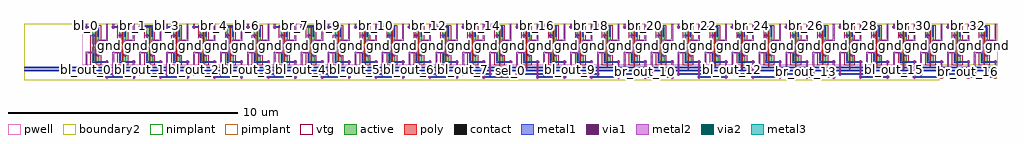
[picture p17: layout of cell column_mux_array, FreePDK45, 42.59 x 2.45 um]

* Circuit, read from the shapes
.subckt column_mux_array bl_0 bl_1 bl_10 bl_11 bl_12 bl_13 bl_14 bl_15 bl_16 bl_17 bl_18 bl_19 bl_2 bl_20 bl_21 bl_22 bl_23 bl_24 bl_25 bl_26 bl_27 bl_28 bl_29 bl_3 bl_30 bl_31 bl_32 bl_33 bl_4 bl_5 bl_6 bl_7 bl_8 bl_9 bl_out_0 bl_out_1 bl_out_10 bl_out_11 bl_out_12 bl_out_13 bl_out_14 bl_out_15 bl_out_16 bl_out_2 bl_out_3 bl_out_4 bl_out_5 bl_out_6 bl_out_7 bl_out_8 bl_out_9 br_0 br_1 br_10 br_11 br_12 br_13 br_14 br_15 br_16 br_17 br_18 br_19 br_2 br_20 br_21 br_22 br_23 br_24 br_25 br_26 br_27 br_28 br_29 br_3 br_30 br_31 br_32 br_33 br_4 br_5 br_6 br_7 br_8 br_9 br_out_0 br_out_1 br_out_10 br_out_11 br_out_12 br_out_13 br_out_14 br_out_15 br_out_16 br_out_2 br_out_3 br_out_4 br_out_5 br_out_6 br_out_7 br_out_8 br_out_9 gnd sel_0 sel_1
M1 br_0 sel_0 br_out_0 gnd nfet w=0.72u l=0.05u
M2 bl_0 sel_0 bl_out_0 gnd nfet w=0.72u l=0.05u
M3 br_1 sel_1 br_out_0 gnd nfet w=0.72u l=0.05u
M4 bl_1 sel_1 bl_out_0 gnd nfet w=0.72u l=0.05u
M5 br_2 sel_0 br_out_1 gnd nfet w=0.72u l=0.05u
M6 bl_2 sel_0 bl_out_1 gnd nfet w=0.72u l=0.05u
M7 br_3 sel_1 br_out_1 gnd nfet w=0.72u l=0.05u
M8 bl_3 sel_1 bl_out_1 gnd nfet w=0.72u l=0.05u
M9 br_4 sel_0 br_out_2 gnd nfet w=0.72u l=0.05u
M10 bl_4 sel_0 bl_out_2 gnd nfet w=0.72u l=0.05u
M11 br_5 sel_1 br_out_2 gnd nfet w=0.72u l=0.05u
M12 bl_5 sel_1 bl_out_2 gnd nfet w=0.72u l=0.05u
M13 br_6 sel_0 br_out_3 gnd nfet w=0.72u l=0.05u
M14 bl_6 sel_0 bl_out_3 gnd nfet w=0.72u l=0.05u
M15 br_7 sel_1 br_out_3 gnd nfet w=0.72u l=0.05u
M16 bl_7 sel_1 bl_out_3 gnd nfet w=0.72u l=0.05u
M17 br_8 sel_0 br_out_4 gnd nfet w=0.72u l=0.05u
M18 bl_8 sel_0 bl_out_4 gnd nfet w=0.72u l=0.05u
M19 br_9 sel_1 br_out_4 gnd nfet w=0.72u l=0.05u
M20 bl_9 sel_1 bl_out_4 gnd nfet w=0.72u l=0.05u
M21 br_10 sel_0 br_out_5 gnd nfet w=0.72u l=0.05u
M22 bl_10 sel_0 bl_out_5 gnd nfet w=0.72u l=0.05u
M23 br_11 sel_1 br_out_5 gnd nfet w=0.72u l=0.05u
M24 bl_11 sel_1 bl_out_5 gnd nfet w=0.72u l=0.05u
M25 br_12 sel_0 br_out_6 gnd nfet w=0.72u l=0.05u
M26 bl_12 sel_0 bl_out_6 gnd nfet w=0.72u l=0.05u
M27 br_13 sel_1 br_out_6 gnd nfet w=0.72u l=0.05u
M28 bl_13 sel_1 bl_out_6 gnd nfet w=0.72u l=0.05u
M29 br_14 sel_0 br_out_7 gnd nfet w=0.72u l=0.05u
M30 bl_14 sel_0 bl_out_7 gnd nfet w=0.72u l=0.05u
M31 br_15 sel_1 br_out_7 gnd nfet w=0.72u l=0.05u
M32 bl_15 sel_1 bl_out_7 gnd nfet w=0.72u l=0.05u
M33 br_16 sel_0 br_out_8 gnd nfet w=0.72u l=0.05u
M34 bl_16 sel_0 bl_out_8 gnd nfet w=0.72u l=0.05u
M35 br_17 sel_1 br_out_8 gnd nfet w=0.72u l=0.05u
M36 bl_17 sel_1 bl_out_8 gnd nfet w=0.72u l=0.05u
M37 br_18 sel_0 br_out_9 gnd nfet w=0.72u l=0.05u
M38 bl_18 sel_0 bl_out_9 gnd nfet w=0.72u l=0.05u
M39 br_19 sel_1 br_out_9 gnd nfet w=0.72u l=0.05u
M40 bl_19 sel_1 bl_out_9 gnd nfet w=0.72u l=0.05u
M41 br_20 sel_0 br_out_10 gnd nfet w=0.72u l=0.05u
M42 bl_20 sel_0 bl_out_10 gnd nfet w=0.72u l=0.05u
M43 br_21 sel_1 br_out_10 gnd nfet w=0.72u l=0.05u
M44 bl_21 sel_1 bl_out_10 gnd nfet w=0.72u l=0.05u
M45 br_22 sel_0 br_out_11 gnd nfet w=0.72u l=0.05u
M46 bl_22 sel_0 bl_out_11 gnd nfet w=0.72u l=0.05u
M47 br_23 sel_1 br_out_11 gnd nfet w=0.72u l=0.05u
M48 bl_23 sel_1 bl_out_11 gnd nfet w=0.72u l=0.05u
M49 br_24 sel_0 br_out_12 gnd nfet w=0.72u l=0.05u
M50 bl_24 sel_0 bl_out_12 gnd nfet w=0.72u l=0.05u
M51 br_25 sel_1 br_out_12 gnd nfet w=0.72u l=0.05u
M52 bl_25 sel_1 bl_out_12 gnd nfet w=0.72u l=0.05u
M53 br_26 sel_0 br_out_13 gnd nfet w=0.72u l=0.05u
M54 bl_26 sel_0 bl_out_13 gnd nfet w=0.72u l=0.05u
M55 br_27 sel_1 br_out_13 gnd nfet w=0.72u l=0.05u
M56 bl_27 sel_1 bl_out_13 gnd nfet w=0.72u l=0.05u
M57 br_28 sel_0 br_out_14 gnd nfet w=0.72u l=0.05u
M58 bl_28 sel_0 bl_out_14 gnd nfet w=0.72u l=0.05u
M59 br_29 sel_1 br_out_14 gnd nfet w=0.72u l=0.05u
M60 bl_29 sel_1 bl_out_14 gnd nfet w=0.72u l=0.05u
M61 br_30 sel_0 br_out_15 gnd nfet w=0.72u l=0.05u
M62 bl_30 sel_0 bl_out_15 gnd nfet w=0.72u l=0.05u
M63 br_31 sel_1 br_out_15 gnd nfet w=0.72u l=0.05u
M64 bl_31 sel_1 bl_out_15 gnd nfet w=0.72u l=0.05u
M65 br_32 sel_0 br_out_16 gnd nfet w=0.72u l=0.05u
M66 bl_32 sel_0 bl_out_16 gnd nfet w=0.72u l=0.05u
M67 br_33 sel_1 br_out_16 gnd nfet w=0.72u l=0.05u
M68 bl_33 sel_1 bl_out_16 gnd nfet w=0.72u l=0.05u
.ends

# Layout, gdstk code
import gdstk
lib = gdstk.Library(unit=1e-6, precision=5e-10)
def R(c, l, rs):  # rectangles x0, y0, x1, y1
    for r in rs: c.add(gdstk.rectangle(r[:2], r[2:], *l))
def A(c, l, x, y, w, h, nx, ny, dx, dy):  # array of equal rectangles
    R(c, l, [(x+i*dx, y+j*dy, x+i*dx+w, y+j*dy+h) for i in range(nx) for j in range(ny)])
active = (1, 0)
pwell = (2, 0)
nimplant = (4, 0)
pimplant = (5, 0)
vtg = (6, 0)
poly = (9, 0)
contact = (10, 0)
metal1 = (11, 0)
via1 = (12, 0)
metal2 = (13, 0)
via2 = (14, 0)
metal3 = (15, 0)
boundary2 = (239, 0)

contact_9 = lib.new_cell('contact_9')
R(contact_9, active, [(0,0.0225,0.09,0.1125)])
R(contact_9, pwell, [(-0.055,-0.0325,0.145,0.1675)])
R(contact_9, nimplant, [(0,0.0225,0.09,0.1125)])
R(contact_9, contact, [(0.0125,0.035,0.0775,0.1)])
R(contact_9, metal1, [(0.0125,0,0.0775,0.135)])
R(contact_9, boundary2, [(-0.055,-0.0325,0.145,0.1675)])

nmos_m1_w0_720_sm1_dm1 = lib.new_cell('nmos_m1_w0_720_sm1_dm1')
R(nmos_m1_w0_720_sm1_dm1, active, [(0,0,0.305,0.72)])
R(nmos_m1_w0_720_sm1_dm1, pwell, [(-0.08,-0.08,0.385,0.8)])
R(nmos_m1_w0_720_sm1_dm1, nimplant, [(0,0,0.305,0.72)])
R(nmos_m1_w0_720_sm1_dm1, vtg, [(-0.08,-0.08,0.385,0.8)])
R(nmos_m1_w0_720_sm1_dm1, poly, [(0.1275,-0.055,0.1775,0.775), (0.1275,-0.055,0.1775,0.775)])
R(nmos_m1_w0_720_sm1_dm1, metal1, [(0.0125,0.2925,0.0775,0.4275), (0.2275,0.2925,0.2925,0.4275)])
R(nmos_m1_w0_720_sm1_dm1, boundary2, [(-0.08,-0.08,0.385,0.8)])
nmos_m1_w0_720_sm1_dm1.add(gdstk.Reference(contact_9, (0,0.2925)))
nmos_m1_w0_720_sm1_dm1.add(gdstk.Reference(contact_9, (0.215,0.2925)))
nmos_m1_w0_720_sm1_dm1.add(gdstk.Label('G', (0.1525,0.36), layer=9, texttype=0))
nmos_m1_w0_720_sm1_dm1.add(gdstk.Label('S', (0.045,0.36), layer=11, texttype=0))
nmos_m1_w0_720_sm1_dm1.add(gdstk.Label('D', (0.26,0.36), layer=11, texttype=0))

contact_16 = lib.new_cell('contact_16')
R(contact_16, metal1, [(0,0.035,0.135,0.1)])
R(contact_16, via1, [(0.035,0.035,0.1,0.1)])
R(contact_16, metal2, [(0.0325,0,0.1025,0.135)])
R(contact_16, boundary2, [(0,0,0.135,0.135)])

contact_23 = lib.new_cell('contact_23')
R(contact_23, active, [(0.0225,0,0.1125,0.09)])
R(contact_23, pwell, [(-0.0325,-0.055,0.1675,0.145)])
R(contact_23, pimplant, [(0.0225,0,0.1125,0.09)])
R(contact_23, contact, [(0.035,0.0125,0.1,0.0775)])
R(contact_23, metal1, [(0,0.0125,0.135,0.0775)])
R(contact_23, boundary2, [(-0.0325,-0.055,0.1675,0.145)])

contact_17 = lib.new_cell('contact_17')
R(contact_17, metal2, [(0.0325,0,0.1025,0.135)])
R(contact_17, via2, [(0.035,0.035,0.1,0.1)])
R(contact_17, metal3, [(0,0.0325,0.135,0.1025)])
R(contact_17, boundary2, [(0,0,0.135,0.135)])

column_mux = lib.new_cell('column_mux')
R(column_mux, pwell, [(0,0,1.175,1.8)])
R(column_mux, poly, [(0.5625,0.025,0.6125,0.08), (0.5625,0.8,0.6125,0.94)])
R(column_mux, metal1, [(0.4475,0.1075,0.5125,0.1725), (0.48,0.1075,1.07,0.1725), (0.4475,0.14,0.5125,0.44), (0.6625,1.3,0.7275,1.66), (0.14,1.6275,0.695,1.6925), (0.6625,1.6275,0.7275,1.6925)])
R(column_mux, metal2, [(0.14,0,0.21,0.14), (1.035,0,1.105,0.14), (0.14,0.14,0.21,0.55), (0.66,0.44,0.73,1.085), (0.14,0.515,0.21,0.585), (0.175,0.515,0.48,0.585), (0.445,0.515,0.515,0.585), (0.445,0.55,0.515,1.3), (0.66,1.05,0.73,1.12), (0.695,1.05,1.07,1.12), (1.035,1.05,1.105,1.12), (1.035,1.085,1.105,1.66), (0.14,1.66,0.21,1.8), (1.035,1.66,1.105,1.8)])
R(column_mux, metal3, [(1.1075,0.8025,1.2425,0.9375)])
R(column_mux, boundary2, [(0,0,1.175,1.8)])
column_mux.add(gdstk.Reference(nmos_m1_w0_720_sm1_dm1, (0.435,0.08)))
column_mux.add(gdstk.Reference(nmos_m1_w0_720_sm1_dm1, (0.435,0.94)))
column_mux.add(gdstk.Reference(contact_16, (0.1075,1.5925)))
column_mux.add(gdstk.Reference(contact_16, (1.0025,0.0725)))
column_mux.add(gdstk.Reference(contact_16, (0.4125,1.2325)))
column_mux.add(gdstk.Reference(contact_16, (0.6275,0.3725)))
column_mux.add(gdstk.Reference(contact_23, (1.1075,0.825)))
column_mux.add(gdstk.Reference(contact_16, (1.1075,0.8025)))
column_mux.add(gdstk.Reference(contact_16, (1.1075,0.8025)))
column_mux.add(gdstk.Reference(contact_17, (1.1075,0.8025)))
column_mux.add(gdstk.Label('sel', (0.5875,0.0525), layer=9, texttype=0))
column_mux.add(gdstk.Label('bl', (0.175,1.73), layer=13, texttype=0))
column_mux.add(gdstk.Label('br', (1.07,1.73), layer=13, texttype=0))
column_mux.add(gdstk.Label('bl_out', (0.175,0.07), layer=13, texttype=0))
column_mux.add(gdstk.Label('br_out', (1.07,0.07), layer=13, texttype=0))
column_mux.add(gdstk.Label('gnd', (1.175,0.87), layer=15, texttype=0))

contact_24 = lib.new_cell('contact_24')
R(contact_24, poly, [(0.03,0,0.105,0.075)])
R(contact_24, contact, [(0.035,0.005,0.1,0.07)])
R(contact_24, metal1, [(0,0.005,0.135,0.07)])
R(contact_24, boundary2, [(0,0,0.135,0.075)])

contact_14 = lib.new_cell('contact_14')
R(contact_14, metal1, [(0,0.035,0.135,0.1)])
R(contact_14, via1, [(0.035,0.035,0.1,0.1)])
R(contact_14, metal2, [(0.0325,0,0.1025,0.135)])
R(contact_14, boundary2, [(0,0,0.135,0.135)])

column_mux_array = lib.new_cell('column_mux_array')
R(column_mux_array, pwell, [(2.545,0.65,42.495,2.45)])
A(column_mux_array, poly, 3.1075, 0.4225, 0.05, 0.2525, 17, 1, 2.35, 0)
A(column_mux_array, poly, 4.2825, 0.5525, 0.05, 0.1225, 17, 1, 2.35, 0)
A(column_mux_array, metal1, 3.615, 0.0975, 1.175, 0.065, 17, 1, 2.35, 0)
A(column_mux_array, metal1, 2.72, 0.2275, 1.175, 0.065, 17, 1, 2.35, 0)
R(column_mux_array, metal1, [(0,0.39,42.495,0.455), (0,0.52,42.495,0.585)])
A(column_mux_array, metal2, 3.58, 0.13, 0.07, 0.52, 34, 1, 1.175, 0)
A(column_mux_array, metal2, 2.685, 0.26, 0.07, 0.39, 34, 1, 1.175, 0)
R(column_mux_array, metal2, [(2.685,2.31,2.755,2.45), (3.58,2.31,3.65,2.45), (3.86,2.31,3.93,2.45), (4.755,2.31,4.825,2.45), (5.035,2.31,5.105,2.45), (5.93,2.31,6,2.45), (6.21,2.31,6.28,2.45), (7.105,2.31,7.175,2.45), (7.385,2.31,7.455,2.45), (8.28,2.31,8.35,2.45), (8.56,2.31,8.63,2.45), (9.455,2.31,9.525,2.45), (9.735,2.31,9.805,2.45), (10.63,2.31,10.7,2.45), (10.91,2.31,10.98,2.45), (11.805,2.31,11.875,2.45), (12.085,2.31,12.155,2.45), (12.98,2.31,13.05,2.45), (13.26,2.31,13.33,2.45), (14.155,2.31,14.225,2.45), (14.435,2.31,14.505,2.45), (15.33,2.31,15.4,2.45), (15.61,2.31,15.68,2.45), (16.505,2.31,16.575,2.45), (16.785,2.31,16.855,2.45), (17.68,2.31,17.75,2.45), (17.96,2.31,18.03,2.45), (18.855,2.31,18.925,2.45), (19.135,2.31,19.205,2.45), (20.03,2.31,20.1,2.45), (20.31,2.31,20.38,2.45), (21.205,2.31,21.275,2.45), (21.485,2.31,21.555,2.45), (22.38,2.31,22.45,2.45), (22.66,2.31,22.73,2.45), (23.555,2.31,23.625,2.45), (23.835,2.31,23.905,2.45), (24.73,2.31,24.8,2.45), (25.01,2.31,25.08,2.45), (25.905,2.31,25.975,2.45), (26.185,2.31,26.255,2.45), (27.08,2.31,27.15,2.45), (27.36,2.31,27.43,2.45), (28.255,2.31,28.325,2.45), (28.535,2.31,28.605,2.45), (29.43,2.31,29.5,2.45), (29.71,2.31,29.78,2.45), (30.605,2.31,30.675,2.45), (30.885,2.31,30.955,2.45), (31.78,2.31,31.85,2.45), (32.06,2.31,32.13,2.45), (32.955,2.31,33.025,2.45), (33.235,2.31,33.305,2.45), (34.13,2.31,34.2,2.45), (34.41,2.31,34.48,2.45), (35.305,2.31,35.375,2.45), (35.585,2.31,35.655,2.45), (36.48,2.31,36.55,2.45), (36.76,2.31,36.83,2.45), (37.655,2.31,37.725,2.45), (37.935,2.31,38.005,2.45), (38.83,2.31,38.9,2.45), (39.11,2.31,39.18,2.45), (40.005,2.31,40.075,2.45), (40.285,2.31,40.355,2.45), (41.18,2.31,41.25,2.45), (41.46,2.31,41.53,2.45), (42.355,2.31,42.425,2.45)])
A(column_mux_array, metal3, 3.6525, 1.4525, 0.135, 0.135, 34, 1, 1.175, 0)
R(column_mux_array, boundary2, [(0,0,39.95,2.45)])
column_mux_array.add(gdstk.Reference(column_mux, (2.545,0.65)))
column_mux_array.add(gdstk.Reference(column_mux, (3.72,0.65)))
column_mux_array.add(gdstk.Reference(column_mux, (4.895,0.65)))
column_mux_array.add(gdstk.Reference(column_mux, (6.07,0.65)))
column_mux_array.add(gdstk.Reference(column_mux, (7.245,0.65)))
column_mux_array.add(gdstk.Reference(column_mux, (8.42,0.65)))
column_mux_array.add(gdstk.Reference(column_mux, (9.595,0.65)))
column_mux_array.add(gdstk.Reference(column_mux, (10.77,0.65)))
column_mux_array.add(gdstk.Reference(column_mux, (11.945,0.65)))
column_mux_array.add(gdstk.Reference(column_mux, (13.12,0.65)))
column_mux_array.add(gdstk.Reference(column_mux, (14.295,0.65)))
column_mux_array.add(gdstk.Reference(column_mux, (15.47,0.65)))
column_mux_array.add(gdstk.Reference(column_mux, (16.645,0.65)))
column_mux_array.add(gdstk.Reference(column_mux, (17.82,0.65)))
column_mux_array.add(gdstk.Reference(column_mux, (18.995,0.65)))
column_mux_array.add(gdstk.Reference(column_mux, (20.17,0.65)))
column_mux_array.add(gdstk.Reference(column_mux, (21.345,0.65)))
column_mux_array.add(gdstk.Reference(column_mux, (22.52,0.65)))
column_mux_array.add(gdstk.Reference(column_mux, (23.695,0.65)))
column_mux_array.add(gdstk.Reference(column_mux, (24.87,0.65)))
column_mux_array.add(gdstk.Reference(column_mux, (26.045,0.65)))
column_mux_array.add(gdstk.Reference(column_mux, (27.22,0.65)))
column_mux_array.add(gdstk.Reference(column_mux, (28.395,0.65)))
column_mux_array.add(gdstk.Reference(column_mux, (29.57,0.65)))
column_mux_array.add(gdstk.Reference(column_mux, (30.745,0.65)))
column_mux_array.add(gdstk.Reference(column_mux, (31.92,0.65)))
column_mux_array.add(gdstk.Reference(column_mux, (33.095,0.65)))
column_mux_array.add(gdstk.Reference(column_mux, (34.27,0.65)))
column_mux_array.add(gdstk.Reference(column_mux, (35.445,0.65)))
column_mux_array.add(gdstk.Reference(column_mux, (36.62,0.65)))
column_mux_array.add(gdstk.Reference(column_mux, (37.795,0.65)))
column_mux_array.add(gdstk.Reference(column_mux, (38.97,0.65)))
column_mux_array.add(gdstk.Reference(column_mux, (40.145,0.65)))
column_mux_array.add(gdstk.Reference(column_mux, (41.32,0.65)))
column_mux_array.add(gdstk.Reference(contact_24, (3.065,0.385)))
column_mux_array.add(gdstk.Reference(contact_24, (4.24,0.515)))
column_mux_array.add(gdstk.Reference(contact_24, (5.415,0.385)))
column_mux_array.add(gdstk.Reference(contact_24, (6.59,0.515)))
column_mux_array.add(gdstk.Reference(contact_24, (7.765,0.385)))
column_mux_array.add(gdstk.Reference(contact_24, (8.94,0.515)))
column_mux_array.add(gdstk.Reference(contact_24, (10.115,0.385)))
column_mux_array.add(gdstk.Reference(contact_24, (11.29,0.515)))
column_mux_array.add(gdstk.Reference(contact_24, (12.465,0.385)))
column_mux_array.add(gdstk.Reference(contact_24, (13.64,0.515)))
column_mux_array.add(gdstk.Reference(contact_24, (14.815,0.385)))
column_mux_array.add(gdstk.Reference(contact_24, (15.99,0.515)))
column_mux_array.add(gdstk.Reference(contact_24, (17.165,0.385)))
column_mux_array.add(gdstk.Reference(contact_24, (18.34,0.515)))
column_mux_array.add(gdstk.Reference(contact_24, (19.515,0.385)))
column_mux_array.add(gdstk.Reference(contact_24, (20.69,0.515)))
column_mux_array.add(gdstk.Reference(contact_24, (21.865,0.385)))
column_mux_array.add(gdstk.Reference(contact_24, (23.04,0.515)))
column_mux_array.add(gdstk.Reference(contact_24, (24.215,0.385)))
column_mux_array.add(gdstk.Reference(contact_24, (25.39,0.515)))
column_mux_array.add(gdstk.Reference(contact_24, (26.565,0.385)))
column_mux_array.add(gdstk.Reference(contact_24, (27.74,0.515)))
column_mux_array.add(gdstk.Reference(contact_24, (28.915,0.385)))
column_mux_array.add(gdstk.Reference(contact_24, (30.09,0.515)))
column_mux_array.add(gdstk.Reference(contact_24, (31.265,0.385)))
column_mux_array.add(gdstk.Reference(contact_24, (32.44,0.515)))
column_mux_array.add(gdstk.Reference(contact_24, (33.615,0.385)))
column_mux_array.add(gdstk.Reference(contact_24, (34.79,0.515)))
column_mux_array.add(gdstk.Reference(contact_24, (35.965,0.385)))
column_mux_array.add(gdstk.Reference(contact_24, (37.14,0.515)))
column_mux_array.add(gdstk.Reference(contact_24, (38.315,0.385)))
column_mux_array.add(gdstk.Reference(contact_24, (39.49,0.515)))
column_mux_array.add(gdstk.Reference(contact_24, (40.665,0.385)))
column_mux_array.add(gdstk.Reference(contact_24, (41.84,0.515)))
column_mux_array.add(gdstk.Reference(contact_14, (2.6525,0.1925)))
column_mux_array.add(gdstk.Reference(contact_14, (3.5475,0.0625)))
column_mux_array.add(gdstk.Reference(contact_14, (3.8275,0.1925)))
column_mux_array.add(gdstk.Reference(contact_14, (4.7225,0.0625)))
column_mux_array.add(gdstk.Reference(contact_14, (5.0025,0.1925)))
column_mux_array.add(gdstk.Reference(contact_14, (5.8975,0.0625)))
column_mux_array.add(gdstk.Reference(contact_14, (6.1775,0.1925)))
column_mux_array.add(gdstk.Reference(contact_14, (7.0725,0.0625)))
column_mux_array.add(gdstk.Reference(contact_14, (7.3525,0.1925)))
column_mux_array.add(gdstk.Reference(contact_14, (8.2475,0.0625)))
column_mux_array.add(gdstk.Reference(contact_14, (8.5275,0.1925)))
column_mux_array.add(gdstk.Reference(contact_14, (9.4225,0.0625)))
column_mux_array.add(gdstk.Reference(contact_14, (9.7025,0.1925)))
column_mux_array.add(gdstk.Reference(contact_14, (10.5975,0.0625)))
column_mux_array.add(gdstk.Reference(contact_14, (10.8775,0.1925)))
column_mux_array.add(gdstk.Reference(contact_14, (11.7725,0.0625)))
column_mux_array.add(gdstk.Reference(contact_14, (12.0525,0.1925)))
column_mux_array.add(gdstk.Reference(contact_14, (12.9475,0.0625)))
column_mux_array.add(gdstk.Reference(contact_14, (13.2275,0.1925)))
column_mux_array.add(gdstk.Reference(contact_14, (14.1225,0.0625)))
column_mux_array.add(gdstk.Reference(contact_14, (14.4025,0.1925)))
column_mux_array.add(gdstk.Reference(contact_14, (15.2975,0.0625)))
column_mux_array.add(gdstk.Reference(contact_14, (15.5775,0.1925)))
column_mux_array.add(gdstk.Reference(contact_14, (16.4725,0.0625)))
column_mux_array.add(gdstk.Reference(contact_14, (16.7525,0.1925)))
column_mux_array.add(gdstk.Reference(contact_14, (17.6475,0.0625)))
column_mux_array.add(gdstk.Reference(contact_14, (17.9275,0.1925)))
column_mux_array.add(gdstk.Reference(contact_14, (18.8225,0.0625)))
column_mux_array.add(gdstk.Reference(contact_14, (19.1025,0.1925)))
column_mux_array.add(gdstk.Reference(contact_14, (19.9975,0.0625)))
column_mux_array.add(gdstk.Reference(contact_14, (20.2775,0.1925)))
column_mux_array.add(gdstk.Reference(contact_14, (21.1725,0.0625)))
column_mux_array.add(gdstk.Reference(contact_14, (21.4525,0.1925)))
column_mux_array.add(gdstk.Reference(contact_14, (22.3475,0.0625)))
column_mux_array.add(gdstk.Reference(contact_14, (22.6275,0.1925)))
column_mux_array.add(gdstk.Reference(contact_14, (23.5225,0.0625)))
column_mux_array.add(gdstk.Reference(contact_14, (23.8025,0.1925)))
column_mux_array.add(gdstk.Reference(contact_14, (24.6975,0.0625)))
column_mux_array.add(gdstk.Reference(contact_14, (24.9775,0.1925)))
column_mux_array.add(gdstk.Reference(contact_14, (25.8725,0.0625)))
column_mux_array.add(gdstk.Reference(contact_14, (26.1525,0.1925)))
column_mux_array.add(gdstk.Reference(contact_14, (27.0475,0.0625)))
column_mux_array.add(gdstk.Reference(contact_14, (27.3275,0.1925)))
column_mux_array.add(gdstk.Reference(contact_14, (28.2225,0.0625)))
column_mux_array.add(gdstk.Reference(contact_14, (28.5025,0.1925)))
column_mux_array.add(gdstk.Reference(contact_14, (29.3975,0.0625)))
column_mux_array.add(gdstk.Reference(contact_14, (29.6775,0.1925)))
column_mux_array.add(gdstk.Reference(contact_14, (30.5725,0.0625)))
column_mux_array.add(gdstk.Reference(contact_14, (30.8525,0.1925)))
column_mux_array.add(gdstk.Reference(contact_14, (31.7475,0.0625)))
column_mux_array.add(gdstk.Reference(contact_14, (32.0275,0.1925)))
column_mux_array.add(gdstk.Reference(contact_14, (32.9225,0.0625)))
column_mux_array.add(gdstk.Reference(contact_14, (33.2025,0.1925)))
column_mux_array.add(gdstk.Reference(contact_14, (34.0975,0.0625)))
column_mux_array.add(gdstk.Reference(contact_14, (34.3775,0.1925)))
column_mux_array.add(gdstk.Reference(contact_14, (35.2725,0.0625)))
column_mux_array.add(gdstk.Reference(contact_14, (35.5525,0.1925)))
column_mux_array.add(gdstk.Reference(contact_14, (36.4475,0.0625)))
column_mux_array.add(gdstk.Reference(contact_14, (36.7275,0.1925)))
column_mux_array.add(gdstk.Reference(contact_14, (37.6225,0.0625)))
column_mux_array.add(gdstk.Reference(contact_14, (37.9025,0.1925)))
column_mux_array.add(gdstk.Reference(contact_14, (38.7975,0.0625)))
column_mux_array.add(gdstk.Reference(contact_14, (39.0775,0.1925)))
column_mux_array.add(gdstk.Reference(contact_14, (39.9725,0.0625)))
column_mux_array.add(gdstk.Reference(contact_14, (40.2525,0.1925)))
column_mux_array.add(gdstk.Reference(contact_14, (41.1475,0.0625)))
column_mux_array.add(gdstk.Reference(contact_14, (41.4275,0.1925)))
column_mux_array.add(gdstk.Reference(contact_14, (42.3225,0.0625)))
column_mux_array.add(gdstk.Label('sel_0', (21.2475,0.4225), layer=11, texttype=0))
column_mux_array.add(gdstk.Label('sel_1', (21.2475,0.5525), layer=11, texttype=0))
column_mux_array.add(gdstk.Label('bl_out_0', (2.72,0.455), layer=13, texttype=0))
column_mux_array.add(gdstk.Label('br_out_0', (3.615,0.39), layer=13, texttype=0))
column_mux_array.add(gdstk.Label('bl_out_1', (5.07,0.455), layer=13, texttype=0))
column_mux_array.add(gdstk.Label('br_out_1', (5.965,0.39), layer=13, texttype=0))
column_mux_array.add(gdstk.Label('bl_out_2', (7.42,0.455), layer=13, texttype=0))
column_mux_array.add(gdstk.Label('br_out_2', (8.315,0.39), layer=13, texttype=0))
column_mux_array.add(gdstk.Label('bl_out_3', (9.77,0.455), layer=13, texttype=0))
column_mux_array.add(gdstk.Label('br_out_3', (10.665,0.39), layer=13, texttype=0))
column_mux_array.add(gdstk.Label('bl_out_4', (12.12,0.455), layer=13, texttype=0))
column_mux_array.add(gdstk.Label('br_out_4', (13.015,0.39), layer=13, texttype=0))
column_mux_array.add(gdstk.Label('bl_out_5', (14.47,0.455), layer=13, texttype=0))
column_mux_array.add(gdstk.Label('br_out_5', (15.365,0.39), layer=13, texttype=0))
column_mux_array.add(gdstk.Label('bl_out_6', (16.82,0.455), layer=13, texttype=0))
column_mux_array.add(gdstk.Label('br_out_6', (17.715,0.39), layer=13, texttype=0))
column_mux_array.add(gdstk.Label('bl_out_7', (19.17,0.455), layer=13, texttype=0))
column_mux_array.add(gdstk.Label('br_out_7', (20.065,0.39), layer=13, texttype=0))
column_mux_array.add(gdstk.Label('bl_out_8', (21.52,0.455), layer=13, texttype=0))
column_mux_array.add(gdstk.Label('br_out_8', (22.415,0.39), layer=13, texttype=0))
column_mux_array.add(gdstk.Label('bl_out_9', (23.87,0.455), layer=13, texttype=0))
column_mux_array.add(gdstk.Label('br_out_9', (24.765,0.39), layer=13, texttype=0))
column_mux_array.add(gdstk.Label('bl_out_10', (26.22,0.455), layer=13, texttype=0))
column_mux_array.add(gdstk.Label('br_out_10', (27.115,0.39), layer=13, texttype=0))
column_mux_array.add(gdstk.Label('bl_out_11', (28.57,0.455), layer=13, texttype=0))
column_mux_array.add(gdstk.Label('br_out_11', (29.465,0.39), layer=13, texttype=0))
column_mux_array.add(gdstk.Label('bl_out_12', (30.92,0.455), layer=13, texttype=0))
column_mux_array.add(gdstk.Label('br_out_12', (31.815,0.39), layer=13, texttype=0))
column_mux_array.add(gdstk.Label('bl_out_13', (33.27,0.455), layer=13, texttype=0))
column_mux_array.add(gdstk.Label('br_out_13', (34.165,0.39), layer=13, texttype=0))
column_mux_array.add(gdstk.Label('bl_out_14', (35.62,0.455), layer=13, texttype=0))
column_mux_array.add(gdstk.Label('br_out_14', (36.515,0.39), layer=13, texttype=0))
column_mux_array.add(gdstk.Label('bl_out_15', (37.97,0.455), layer=13, texttype=0))
column_mux_array.add(gdstk.Label('br_out_15', (38.865,0.39), layer=13, texttype=0))
column_mux_array.add(gdstk.Label('bl_out_16', (40.32,0.455), layer=13, texttype=0))
column_mux_array.add(gdstk.Label('br_out_16', (41.215,0.39), layer=13, texttype=0))
column_mux_array.add(gdstk.Label('bl_0', (2.72,2.38), layer=13, texttype=0))
column_mux_array.add(gdstk.Label('br_0', (3.615,2.38), layer=13, texttype=0))
column_mux_array.add(gdstk.Label('bl_1', (3.895,2.38), layer=13, texttype=0))
column_mux_array.add(gdstk.Label('br_1', (4.79,2.38), layer=13, texttype=0))
column_mux_array.add(gdstk.Label('bl_2', (5.07,2.38), layer=13, texttype=0))
column_mux_array.add(gdstk.Label('br_2', (5.965,2.38), layer=13, texttype=0))
column_mux_array.add(gdstk.Label('bl_3', (6.245,2.38), layer=13, texttype=0))
column_mux_array.add(gdstk.Label('br_3', (7.14,2.38), layer=13, texttype=0))
column_mux_array.add(gdstk.Label('bl_4', (7.42,2.38), layer=13, texttype=0))
column_mux_array.add(gdstk.Label('br_4', (8.315,2.38), layer=13, texttype=0))
column_mux_array.add(gdstk.Label('bl_5', (8.595,2.38), layer=13, texttype=0))
column_mux_array.add(gdstk.Label('br_5', (9.49,2.38), layer=13, texttype=0))
column_mux_array.add(gdstk.Label('bl_6', (9.77,2.38), layer=13, texttype=0))
column_mux_array.add(gdstk.Label('br_6', (10.665,2.38), layer=13, texttype=0))
column_mux_array.add(gdstk.Label('bl_7', (10.945,2.38), layer=13, texttype=0))
column_mux_array.add(gdstk.Label('br_7', (11.84,2.38), layer=13, texttype=0))
column_mux_array.add(gdstk.Label('bl_8', (12.12,2.38), layer=13, texttype=0))
column_mux_array.add(gdstk.Label('br_8', (13.015,2.38), layer=13, texttype=0))
column_mux_array.add(gdstk.Label('bl_9', (13.295,2.38), layer=13, texttype=0))
column_mux_array.add(gdstk.Label('br_9', (14.19,2.38), layer=13, texttype=0))
column_mux_array.add(gdstk.Label('bl_10', (14.47,2.38), layer=13, texttype=0))
column_mux_array.add(gdstk.Label('br_10', (15.365,2.38), layer=13, texttype=0))
column_mux_array.add(gdstk.Label('bl_11', (15.645,2.38), layer=13, texttype=0))
column_mux_array.add(gdstk.Label('br_11', (16.54,2.38), layer=13, texttype=0))
column_mux_array.add(gdstk.Label('bl_12', (16.82,2.38), layer=13, texttype=0))
column_mux_array.add(gdstk.Label('br_12', (17.715,2.38), layer=13, texttype=0))
column_mux_array.add(gdstk.Label('bl_13', (17.995,2.38), layer=13, texttype=0))
column_mux_array.add(gdstk.Label('br_13', (18.89,2.38), layer=13, texttype=0))
column_mux_array.add(gdstk.Label('bl_14', (19.17,2.38), layer=13, texttype=0))
column_mux_array.add(gdstk.Label('br_14', (20.065,2.38), layer=13, texttype=0))
column_mux_array.add(gdstk.Label('bl_15', (20.345,2.38), layer=13, texttype=0))
column_mux_array.add(gdstk.Label('br_15', (21.24,2.38), layer=13, texttype=0))
column_mux_array.add(gdstk.Label('bl_16', (21.52,2.38), layer=13, texttype=0))
column_mux_array.add(gdstk.Label('br_16', (22.415,2.38), layer=13, texttype=0))
column_mux_array.add(gdstk.Label('bl_17', (22.695,2.38), layer=13, texttype=0))
column_mux_array.add(gdstk.Label('br_17', (23.59,2.38), layer=13, texttype=0))
column_mux_array.add(gdstk.Label('bl_18', (23.87,2.38), layer=13, texttype=0))
column_mux_array.add(gdstk.Label('br_18', (24.765,2.38), layer=13, texttype=0))
column_mux_array.add(gdstk.Label('bl_19', (25.045,2.38), layer=13, texttype=0))
column_mux_array.add(gdstk.Label('br_19', (25.94,2.38), layer=13, texttype=0))
column_mux_array.add(gdstk.Label('bl_20', (26.22,2.38), layer=13, texttype=0))
column_mux_array.add(gdstk.Label('br_20', (27.115,2.38), layer=13, texttype=0))
column_mux_array.add(gdstk.Label('bl_21', (27.395,2.38), layer=13, texttype=0))
column_mux_array.add(gdstk.Label('br_21', (28.29,2.38), layer=13, texttype=0))
column_mux_array.add(gdstk.Label('bl_22', (28.57,2.38), layer=13, texttype=0))
column_mux_array.add(gdstk.Label('br_22', (29.465,2.38), layer=13, texttype=0))
column_mux_array.add(gdstk.Label('bl_23', (29.745,2.38), layer=13, texttype=0))
column_mux_array.add(gdstk.Label('br_23', (30.64,2.38), layer=13, texttype=0))
column_mux_array.add(gdstk.Label('bl_24', (30.92,2.38), layer=13, texttype=0))
column_mux_array.add(gdstk.Label('br_24', (31.815,2.38), layer=13, texttype=0))
column_mux_array.add(gdstk.Label('bl_25', (32.095,2.38), layer=13, texttype=0))
column_mux_array.add(gdstk.Label('br_25', (32.99,2.38), layer=13, texttype=0))
column_mux_array.add(gdstk.Label('bl_26', (33.27,2.38), layer=13, texttype=0))
column_mux_array.add(gdstk.Label('br_26', (34.165,2.38), layer=13, texttype=0))
column_mux_array.add(gdstk.Label('bl_27', (34.445,2.38), layer=13, texttype=0))
column_mux_array.add(gdstk.Label('br_27', (35.34,2.38), layer=13, texttype=0))
column_mux_array.add(gdstk.Label('bl_28', (35.62,2.38), layer=13, texttype=0))
column_mux_array.add(gdstk.Label('br_28', (36.515,2.38), layer=13, texttype=0))
column_mux_array.add(gdstk.Label('bl_29', (36.795,2.38), layer=13, texttype=0))
column_mux_array.add(gdstk.Label('br_29', (37.69,2.38), layer=13, texttype=0))
column_mux_array.add(gdstk.Label('bl_30', (37.97,2.38), layer=13, texttype=0))
column_mux_array.add(gdstk.Label('br_30', (38.865,2.38), layer=13, texttype=0))
column_mux_array.add(gdstk.Label('bl_31', (39.145,2.38), layer=13, texttype=0))
column_mux_array.add(gdstk.Label('br_31', (40.04,2.38), layer=13, texttype=0))
column_mux_array.add(gdstk.Label('bl_32', (40.32,2.38), layer=13, texttype=0))
column_mux_array.add(gdstk.Label('br_32', (41.215,2.38), layer=13, texttype=0))
column_mux_array.add(gdstk.Label('bl_33', (41.495,2.38), layer=13, texttype=0))
column_mux_array.add(gdstk.Label('br_33', (42.39,2.38), layer=13, texttype=0))
column_mux_array.add(gdstk.Label('gnd', (27.22,1.52), layer=15, texttype=0))
column_mux_array.add(gdstk.Label('gnd', (4.895,1.52), layer=15, texttype=0))
column_mux_array.add(gdstk.Label('gnd', (29.57,1.52), layer=15, texttype=0))
column_mux_array.add(gdstk.Label('gnd', (21.345,1.52), layer=15, texttype=0))
column_mux_array.add(gdstk.Label('gnd', (18.995,1.52), layer=15, texttype=0))
column_mux_array.add(gdstk.Label('gnd', (35.445,1.52), layer=15, texttype=0))
column_mux_array.add(gdstk.Label('gnd', (42.495,1.52), layer=15, texttype=0))
column_mux_array.add(gdstk.Label('gnd', (26.045,1.52), layer=15, texttype=0))
column_mux_array.add(gdstk.Label('gnd', (33.095,1.52), layer=15, texttype=0))
column_mux_array.add(gdstk.Label('gnd', (38.97,1.52), layer=15, texttype=0))
column_mux_array.add(gdstk.Label('gnd', (23.695,1.52), layer=15, texttype=0))
column_mux_array.add(gdstk.Label('gnd', (24.87,1.52), layer=15, texttype=0))
column_mux_array.add(gdstk.Label('gnd', (22.52,1.52), layer=15, texttype=0))
column_mux_array.add(gdstk.Label('gnd', (6.07,1.52), layer=15, texttype=0))
column_mux_array.add(gdstk.Label('gnd', (34.27,1.52), layer=15, texttype=0))
column_mux_array.add(gdstk.Label('gnd', (8.42,1.52), layer=15, texttype=0))
column_mux_array.add(gdstk.Label('gnd', (3.72,1.52), layer=15, texttype=0))
column_mux_array.add(gdstk.Label('gnd', (17.82,1.52), layer=15, texttype=0))
column_mux_array.add(gdstk.Label('gnd', (36.62,1.52), layer=15, texttype=0))
column_mux_array.add(gdstk.Label('gnd', (11.945,1.52), layer=15, texttype=0))
column_mux_array.add(gdstk.Label('gnd', (15.47,1.52), layer=15, texttype=0))
column_mux_array.add(gdstk.Label('gnd', (31.92,1.52), layer=15, texttype=0))
column_mux_array.add(gdstk.Label('gnd', (30.745,1.52), layer=15, texttype=0))
column_mux_array.add(gdstk.Label('gnd', (16.645,1.52), layer=15, texttype=0))
column_mux_array.add(gdstk.Label('gnd', (7.245,1.52), layer=15, texttype=0))
column_mux_array.add(gdstk.Label('gnd', (41.32,1.52), layer=15, texttype=0))
column_mux_array.add(gdstk.Label('gnd', (9.595,1.52), layer=15, texttype=0))
column_mux_array.add(gdstk.Label('gnd', (40.145,1.52), layer=15, texttype=0))
column_mux_array.add(gdstk.Label('gnd', (13.12,1.52), layer=15, texttype=0))
column_mux_array.add(gdstk.Label('gnd', (10.77,1.52), layer=15, texttype=0))
column_mux_array.add(gdstk.Label('gnd', (20.17,1.52), layer=15, texttype=0))
column_mux_array.add(gdstk.Label('gnd', (28.395,1.52), layer=15, texttype=0))
column_mux_array.add(gdstk.Label('gnd', (14.295,1.52), layer=15, texttype=0))
column_mux_array.add(gdstk.Label('gnd', (37.795,1.52), layer=15, texttype=0))

lib.write_gds('column_mux_array.gds')
